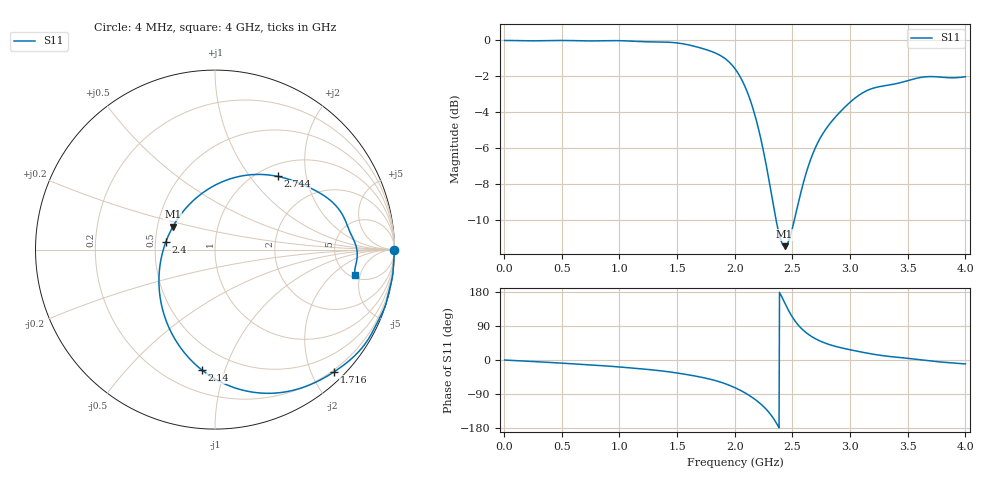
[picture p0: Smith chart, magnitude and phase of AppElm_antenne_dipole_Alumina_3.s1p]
! TOUCHSTONE file generated by CST MICROWAVE STUDIO
! Date and time: Sat May 14 10:02:55 2022
! Project name: AppElm_antenne_dipole_Alumina.cst
! Parameters = {L=33; e=0.035; f=2.45e+09; h=1.6; i=0.68; l1=2; lambda=122.449; ls=30; wl=1.7; ws=80}
! Header version: 2018
! Port assignment regex: !\s*Touchstone port\s*([0-9]+)\s*=\s*(CST MWS port|CST DS port)\s*([0-9]+|Zmin|Zmax)\s*\(\"(.*)\"\)(\s*mode\s*([0-9]+))?.*
! Touchstone port assignment:
! Touchstone port 1 = CST MWS port 1 ("")
# GHz S MA R 50
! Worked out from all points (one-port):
!   1000 points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, 4 MHz to 4 GHz, reference 50 ohm
!   lowest |S11| = -11.5 dB at 2.432 GHz (marker M1), VSWR 1.73, Z = 30.1 + j8.27 ohm
!   |S11| at or under -10 dB: 2.358 GHz to 2.517 GHz (158.7 MHz wide, 6.51 % of centre)
!   S11 on the Smith chart (normalised r, x): 4 MHz: open; 1.716 GHz: 0.17, -2.36; 2.14 GHz: 0.34, -0.83; 2.4 GHz: 0.57, +0.05; 2.744 GHz: 1.21, +1.38; 4 GHz: 5.40, -4.13
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0.004  1 -0.1
0.504  1 -8.4
1.004  0.9985 -18.5
1.324  0.9903 -27.4
1.504  0.9838 -34.5
1.716  0.9506 -45.8
1.868  0.9106 -57.5
1.936  0.8796 -64.7
2.004  0.8325 -73.4
2.072  0.7643 -83.9
2.14  0.6735 -96.4
2.212  0.5565 -112.6
2.276  0.4438 -131.1
2.336  0.346 -154.4
2.4  0.2774 171.4
2.432  0.2673 151.5
2.464  0.275 132.2
2.504  0.3039 111.2
2.556  0.358 90.3
2.612  0.4199 73.9
2.672  0.4793 60.9
2.744  0.5367 49.5
2.852  0.6011 37.8
3.004  0.6746 26.8
3.2  0.7361 15.3
3.504  0.7735 4.3
3.672  0.7928 -1.6
4  0.7924 -10.4
